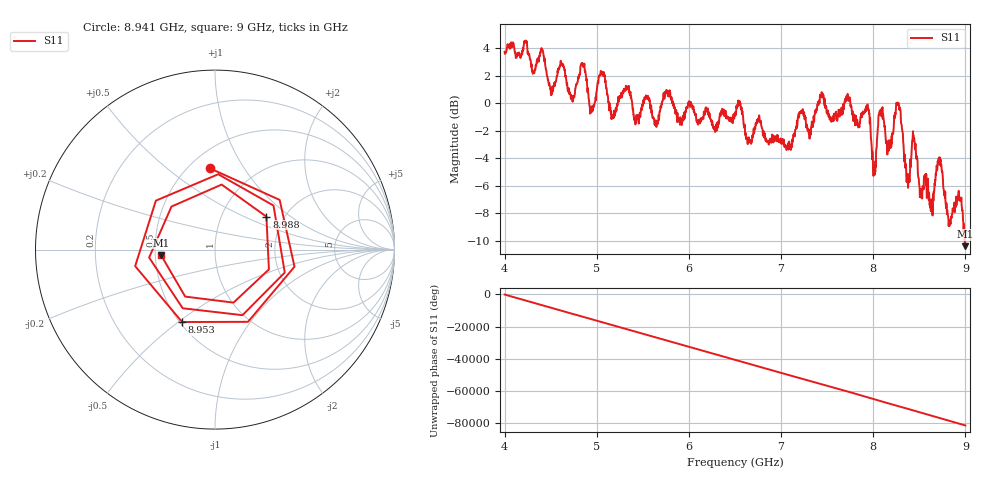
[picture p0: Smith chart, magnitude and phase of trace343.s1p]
! Created with skrf 1.8.0 (http://scikit-rf.org).
# Hz S RI R 50.0
!freq ReS11 ImS11
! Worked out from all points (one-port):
!   1601 points, 4 GHz to 9 GHz, reference 50 ohm
!   lowest |S11| = -10.4 dB at 9 GHz (marker M1), VSWR 1.87, Z = 26.8 - j1.73 ohm
!   |S11| at or under -10 dB: 8.992595 GHz to end of sweep
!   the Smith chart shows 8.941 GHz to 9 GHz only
!   S11 on the Smith chart (normalised r, x): 8.941 GHz: 0.63, +0.72; 8.953 GHz: 0.51, -0.52; 8.988 GHz: 1.63, +0.68; 9 GHz: 0.54, -0.03
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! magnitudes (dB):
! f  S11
! 4 GHz  3.7
! 4.403 GHz  4.0
! 4.506 GHz  0.7
! 4.625 GHz  2.8
! 4.738 GHz  0.1
! 4.85 GHz  2.9
! 4.944 GHz  -0.2
! 5.053 GHz  2.2
! 5.159 GHz  -1.1
! 5.25 GHz  0.5
! 5.875 GHz  -0.7
! 6.5 GHz  -0.9
! 7.125 GHz  -2.8
! 7.75 GHz  0.2
! 7.941 GHz  -0.2
! 8.009 GHz  -5.0
! 8.075 GHz  -0.6
! 8.172 GHz  -2.7
! 8.272 GHz  0.0
! 8.375 GHz  -5.5
! 8.441 GHz  -2.7
! 8.622 GHz  -7.2
! 8.712 GHz  -4.0
! 8.825 GHz  -8.6
! 8.941 GHz  -6.8
! 8.953 GHz  -7.1
! 8.988 GHz  -9.4
! 9 GHz  -10.4
